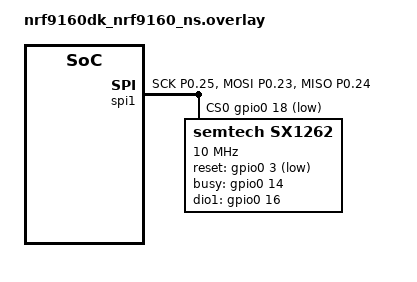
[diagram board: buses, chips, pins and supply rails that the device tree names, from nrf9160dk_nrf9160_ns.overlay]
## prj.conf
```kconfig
#Logs
CONFIG_LOG=y
CONFIG_PRINTK=y

CONFIG_SPI=y
CONFIG_PM_DEVICE=y
CONFIG_PINCTRL=y

CONFIG_SPI_NRFX=y
CONFIG_GPIO=y
CONFIG_UART_INTERRUPT_DRIVEN=y

#Lorawan stack
CONFIG_LORAWAN=y
CONFIG_MAIN_STACK_SIZE=2048
CONFIG_SYSTEM_WORKQUEUE_STACK_SIZE=2048
CONFIG_LORAWAN_LOG_LEVEL_DBG=y
CONFIG_HAS_SEMTECH_LORAMAC=y
#CONFIG_HAS_SEMTECH_SOFT_SE=y
CONFIG_HAS_SEMTECH_RADIO_DRIVERS=y

#SX1262
CONFIG_LORA=y
CONFIG_LORA_SX12XX=y
CONFIG_LORA_SX126X=y
CONFIG_LORA_LOG_LEVEL_DBG=y


#Region
CONFIG_LORAMAC_REGION_EU868=y
```

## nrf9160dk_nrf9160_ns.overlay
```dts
// To get started, press Ctrl+Space to bring up the completion menu and view the available nodes.

// You can also use the buttons in the sidebar to perform actions on nodes.
// Actions currently available include:

// * Enabling / disabling the node
// * Adding the bus to a bus
// * Removing the node
// * Connecting ADC channels

// For more help, browse the DeviceTree documentation at https://docs.zephyrproject.org/latest/guides/dts/index.html
// You can also visit the nRF DeviceTree extension documentation at https://nrfconnect.github.io/vscode-nrf-connect/devicetree/nrfdevicetree.html

&pinctrl{
    spi1_default: spi1_default {
		group1 {
			psels = <NRF_PSEL(SPIM_SCK, 0, 25)>,
				<NRF_PSEL(SPIM_MOSI, 0, 23)>,
				<NRF_PSEL(SPIM_MISO, 0, 24)>;
		};
	};

    spi1_sleep: spi1_sleep {
		group1 {
			psels = <NRF_PSEL(SPIM_SCK, 0, 25)>,
				<NRF_PSEL(SPIM_MOSI, 0, 23)>,
				<NRF_PSEL(SPIM_MISO, 0, 24)>;
            
		};
	};
};


&spi1 {
    compatible = "nordic,nrf-spim";
    status = "okay";
    pinctrl-0 = <&spi1_default>;
    pinctrl-1 = <&spi3_sleep>;
        
    pinctrl-names = "default", "sleep";

    cs-gpios = < &gpio0 18 GPIO_ACTIVE_LOW >;
    
    miso-pull-up;
    
    
    lora: sx1262@0 {
        compatible = "semtech,sx1262";
        reset-gpios = <&gpio0 3 GPIO_ACTIVE_LOW>;
        busy-gpios = <&gpio0 14 GPIO_ACTIVE_HIGH>;
        dio1-gpios = <&gpio0 16 GPIO_ACTIVE_HIGH>;
        
        
        reg = <0>;
        spi-max-frequency = <10000000>;
        label = "SX1262";
    };
    
};



/ {
    aliases {
        lora0 = &lora;
    };
};
```

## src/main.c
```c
/*
 * Class A LoRaWAN sample application
 *
 * Copyright (c) 2020 Manivannan Sadhasivam <mani@kernel.org>
 *
 * SPDX-License-Identifier: Apache-2.0
 */

#include <device.h>
#include <lorawan/lorawan.h>
#include <zephyr.h>

#define DEFAULT_RADIO_NODE DT_ALIAS(lora0) //  DT_NODELABEL
BUILD_ASSERT(DT_NODE_HAS_STATUS(DEFAULT_RADIO_NODE, okay),
	     "No default LoRa radio specified in DT");
#define DEFAULT_RADIO DT_LABEL(DEFAULT_RADIO_NODE)

/* Customize based on network configuration */
#define LORAWAN_DEV_EUI			{ 0x19, 0x01, 0x14, 0x00, 0x95, 0x30,\
					  0x00, 0x00 }
#define LORAWAN_JOIN_EUI		{ 0x70, 0xB3, 0xD5, 0x7E, 0xD0, 0x00,\
					  0x00, 0x00 }
#define LORAWAN_APP_KEY			{ 0xE1, 0xE5, 0xE1, 0x02, 0x79, 0xA1,\
					  0x9D, 0x40, 0x8C, 0xD1, 0xB1, 0x56,\
					  0xBF, 0x68, 0xA3, 0x15 }

#define DELAY K_MSEC(10000)

#define LOG_LEVEL CONFIG_LOG_DEFAULT_LEVEL
#include <logging/log.h>
LOG_MODULE_REGISTER(lorawan_class_a);

char data[] = {'h', 'e', 'l', 'l', 'o', 'w', 'o', 'r', 'l', 'd'};

static void dl_callback(uint8_t port, bool data_pending,
			int16_t rssi, int8_t snr,
			uint8_t len, const uint8_t *data)
{
	LOG_INF("Port %d, Pending %d, RSSI %ddB, SNR %ddBm", port, data_pending, rssi, snr);
	if (data) {
		LOG_HEXDUMP_INF(data, len, "Payload: ");
	}
}

static void lorwan_datarate_changed(enum lorawan_datarate dr)
{
	uint8_t unused, max_size;

	lorawan_get_payload_sizes(&unused, &max_size);
	LOG_INF("New Datarate: DR_%d, Max Payload %d", dr, max_size);
}

void main(void)
{
	const struct device *lora_dev;
	struct lorawan_join_config join_cfg;
	uint8_t dev_eui[] = LORAWAN_DEV_EUI;
	uint8_t join_eui[] = LORAWAN_JOIN_EUI;
	uint8_t app_key[] = LORAWAN_APP_KEY;
	int ret;

	struct lorawan_downlink_cb downlink_cb = {
		.port = LW_RECV_PORT_ANY,
		.cb = dl_callback
	};

	lora_dev = device_get_binding(DEFAULT_RADIO);
	if (!lora_dev) {
		LOG_ERR("%s Device not found", DEFAULT_RADIO);
		return;
	}



	ret = lorawan_start();
	if (ret < 0) {
		LOG_ERR("lorawan_start failed: %d", ret);
		return;
	}

	lorawan_register_downlink_callback(&downlink_cb);
	lorawan_register_dr_changed_callback(lorwan_datarate_changed);

	join_cfg.mode = LORAWAN_ACT_OTAA;
	join_cfg.dev_eui = dev_eui;
	join_cfg.otaa.join_eui = join_eui;
	join_cfg.otaa.app_key = app_key;
	join_cfg.otaa.nwk_key = app_key;

	LOG_INF("Joining network over OTAA");
	LOG_INF("***");
	ret = lorawan_join(&join_cfg);
	LOG_INF("***");
	
	if (ret < 0) {
		LOG_ERR("lorawan_join_network failed: %d", ret);
		return;
	}

	LOG_INF("Sending data...");
	while (1) {
		ret = lorawan_send(2, data, sizeof(data),
				   LORAWAN_MSG_CONFIRMED);

		/*
		 * Note: The stack may return -EAGAIN if the provided data
		 * length exceeds the maximum possible one for the region and
		 * datarate. But since we are just sending the same data here,
		 * we'll just continue.
		 */
		if (ret == -EAGAIN) {
			LOG_ERR("lorawan_send failed: %d. Continuing...", ret);
			k_sleep(DELAY);
			continue;
		}

		if (ret < 0) {
			LOG_ERR("lorawan_send failed: %d", ret);
			return;
		}

		LOG_INF("Data sent!");
		k_sleep(DELAY);
	}
}
```
